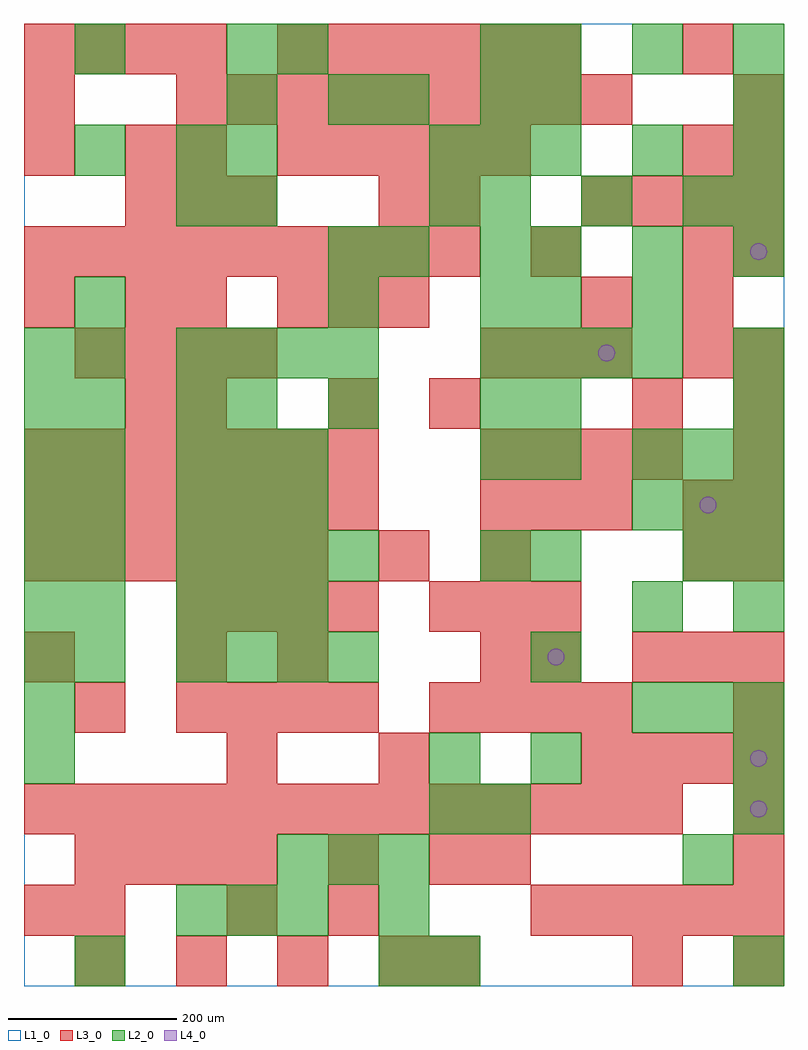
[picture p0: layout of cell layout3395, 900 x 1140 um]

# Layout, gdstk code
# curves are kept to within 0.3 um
import gdstk
lib = gdstk.Library(unit=1e-6, precision=1e-09)
def R(c, l, rs):  # rectangles x0, y0, x1, y1
    for r in rs: c.add(gdstk.rectangle(r[:2], r[2:], *l))
def A(c, l, x, y, w, h, nx, ny, dx, dy):  # array of equal rectangles
    R(c, l, [(x+i*dx, y+j*dy, x+i*dx+w, y+j*dy+h) for i in range(nx) for j in range(ny)])
def P(c, l, *ps):  # polygons
    for p in ps: c.add(gdstk.Polygon(p, *l))
L1_0 = (1, 0)
L2_0 = (2, 0)
L3_0 = (3, 0)
L4_0 = (4, 0)

layout3395 = lib.new_cell('layout3395')
R(layout3395, L1_0, [(0,0,900,1140)])
A(layout3395, L2_0, 180, 60, 60, 60, 3, 2, 60, 360)
A(layout3395, L2_0, 300, 120, 60, 60, 3, 1, 60, 0)
A(layout3395, L2_0, 0, 240, 60, 60, 1, 9, 0, 60)
A(layout3395, L2_0, 600, 240, 60, 60, 1, 4, 0, 120)
A(layout3395, L2_0, 720, 300, 60, 60, 3, 2, 60, 240)
A(layout3395, L2_0, 60, 360, 60, 60, 1, 8, 0, 60)
A(layout3395, L2_0, 180, 360, 60, 60, 4, 2, 60, 120)
A(layout3395, L2_0, 180, 540, 60, 60, 3, 2, 60, 60)
A(layout3395, L2_0, 720, 600, 60, 60, 3, 1, 60, 0)
A(layout3395, L2_0, 180, 720, 60, 60, 4, 1, 60, 0)
A(layout3395, L2_0, 540, 720, 60, 60, 4, 1, 60, 0)
A(layout3395, L2_0, 600, 840, 60, 60, 3, 2, 120, 240)
A(layout3395, L2_0, 240, 900, 60, 60, 1, 4, 0, 60)
A(layout3395, L2_0, 540, 900, 60, 60, 3, 1, 120, 0)
A(layout3395, L2_0, 840, 900, 60, 60, 1, 3, 0, 60)
A(layout3395, L2_0, 480, 960, 60, 60, 3, 1, 60, 0)
R(layout3395, L2_0, [(60,0,120,60), (420,0,480,60), (480,0,540,60), (840,0,900,60), (420,60,480,120), (780,120,840,180), (480,180,540,240), (540,180,600,240), (840,180,900,240), (480,240,540,300), (840,240,900,300), (720,420,780,480), (840,420,900,480), (540,480,600,540), (780,480,840,540), (840,480,900,540), (540,600,600,660), (180,660,240,720), (240,660,300,720), (360,660,420,720), (540,660,600,720), (600,660,660,720), (840,660,900,720), (840,720,900,780), (360,780,420,840), (540,780,600,840), (600,780,660,840), (720,780,780,840), (360,840,420,900), (420,840,480,900), (540,840,600,900), (180,900,240,960), (480,900,540,960), (60,960,120,1020), (180,960,240,1020), (720,960,780,1020), (360,1020,420,1080), (420,1020,480,1080), (540,1020,600,1080), (600,1020,660,1080), (60,1080,120,1140), (300,1080,360,1140), (540,1080,600,1140)])
A(layout3395, L3_0, 60, 0, 60, 60, 4, 1, 120, 0)
A(layout3395, L3_0, 600, 60, 60, 60, 5, 1, 60, 0)
A(layout3395, L3_0, 60, 120, 60, 60, 4, 2, 60, 600)
A(layout3395, L3_0, 0, 180, 60, 60, 13, 1, 60, 0)
A(layout3395, L3_0, 660, 240, 60, 60, 4, 2, 60, 660)
A(layout3395, L3_0, 180, 300, 60, 60, 4, 2, 60, 120)
A(layout3395, L3_0, 480, 300, 60, 60, 4, 1, 60, 0)
A(layout3395, L3_0, 720, 360, 60, 60, 3, 1, 60, 0)
A(layout3395, L3_0, 480, 420, 60, 60, 3, 1, 60, 0)
A(layout3395, L3_0, 0, 480, 60, 60, 6, 1, 60, 0)
A(layout3395, L3_0, 840, 480, 60, 60, 1, 5, 0, 60)
A(layout3395, L3_0, 0, 540, 60, 60, 7, 2, 60, 60)
A(layout3395, L3_0, 540, 540, 60, 60, 3, 2, 60, 180)
A(layout3395, L3_0, 540, 600, 60, 60, 4, 1, 60, 0)
A(layout3395, L3_0, 780, 720, 60, 60, 1, 3, 0, 60)
A(layout3395, L3_0, 300, 780, 60, 60, 3, 1, 60, 0)
A(layout3395, L3_0, 0, 840, 60, 60, 9, 1, 60, 0)
A(layout3395, L3_0, 120, 900, 60, 60, 3, 1, 60, 0)
A(layout3395, L3_0, 300, 960, 60, 60, 5, 1, 60, 0)
A(layout3395, L3_0, 180, 1020, 60, 60, 9, 1, 60, 0)
A(layout3395, L3_0, 0, 1080, 60, 60, 4, 1, 60, 0)
A(layout3395, L3_0, 300, 1080, 60, 60, 6, 1, 60, 0)
R(layout3395, L3_0, [(480,0,540,60), (720,0,780,60), (840,0,900,60), (0,60,60,120), (60,60,120,120), (240,60,300,120), (360,60,420,120), (360,120,420,180), (480,120,540,180), (540,120,600,180), (840,120,900,180), (840,180,900,240), (240,240,300,300), (420,240,480,300), (60,300,120,360), (840,300,900,360), (0,360,60,420), (180,360,240,420), (300,360,360,420), (540,360,600,420), (600,360,660,420), (420,480,480,540), (540,480,600,540), (780,480,840,540), (780,540,840,600), (120,660,180,720), (180,660,240,720), (360,660,420,720), (480,660,540,720), (720,660,780,720), (0,780,60,840), (120,780,180,840), (180,780,240,840), (660,780,720,840), (600,840,660,900), (840,840,900,900), (420,900,480,960), (480,900,540,960), (0,960,60,1020), (120,960,180,1020), (180,960,240,1020), (780,960,840,1020), (840,960,900,1020), (0,1020,60,1080), (840,1020,900,1080), (780,1080,840,1140)])
P(layout3395, L4_0, [(640,390),(639.239,393.827),(637.071,397.071),(633.827,399.239),(630,400),(626.173,399.239),(622.929,397.071),(620.761,393.827),(620,390),(620.761,386.173),(622.929,382.929),(626.173,380.761),(630,380),(633.827,380.761),(637.071,382.929),(639.239,386.173)],
  [(700,750),(699.239,753.827),(697.071,757.071),(693.827,759.239),(690,760),(686.173,759.239),(682.929,757.071),(680.761,753.827),(680,750),(680.761,746.173),(682.929,742.929),(686.173,740.761),(690,740),(693.827,740.761),(697.071,742.929),(699.239,746.173)],
  [(820,570),(819.239,573.827),(817.071,577.071),(813.827,579.239),(810,580),(806.173,579.239),(802.929,577.071),(800.761,573.827),(800,570),(800.761,566.173),(802.929,562.929),(806.173,560.761),(810,560),(813.827,560.761),(817.071,562.929),(819.239,566.173)],
  [(880,210),(879.239,213.827),(877.071,217.071),(873.827,219.239),(870,220),(866.173,219.239),(862.929,217.071),(860.761,213.827),(860,210),(860.761,206.173),(862.929,202.929),(866.173,200.761),(870,200),(873.827,200.761),(877.071,202.929),(879.239,206.173)],
  [(880,270),(879.239,273.827),(877.071,277.071),(873.827,279.239),(870,280),(866.173,279.239),(862.929,277.071),(860.761,273.827),(860,270),(860.761,266.173),(862.929,262.929),(866.173,260.761),(870,260),(873.827,260.761),(877.071,262.929),(879.239,266.173)],
  [(880,870),(879.239,873.827),(877.071,877.071),(873.827,879.239),(870,880),(866.173,879.239),(862.929,877.071),(860.761,873.827),(860,870),(860.761,866.173),(862.929,862.929),(866.173,860.761),(870,860),(873.827,860.761),(877.071,862.929),(879.239,866.173)])

lib.write_gds('layout3395.gds')
